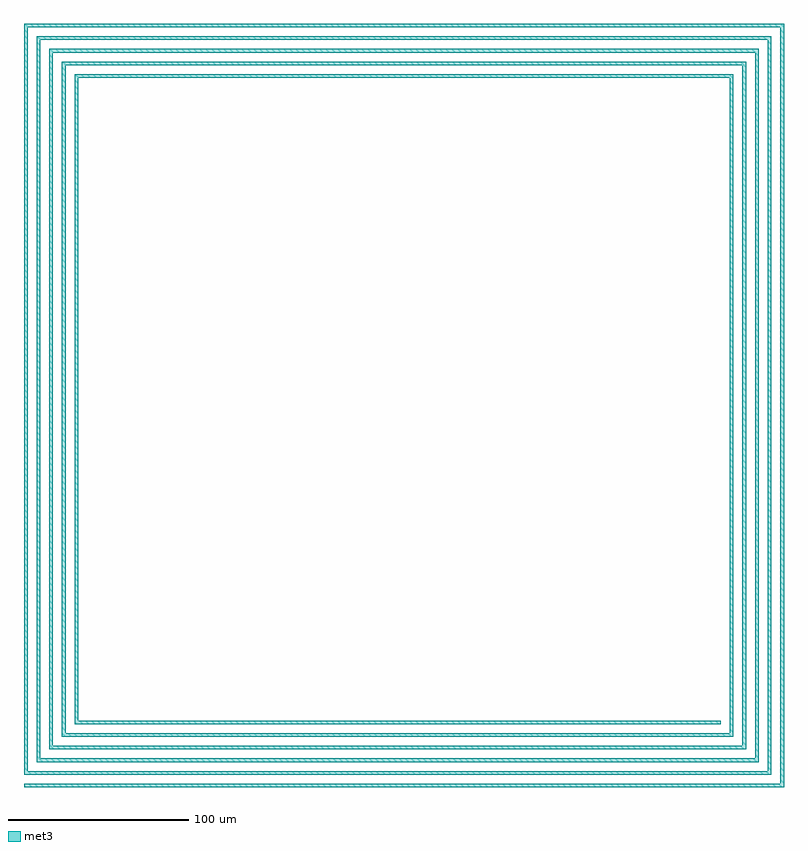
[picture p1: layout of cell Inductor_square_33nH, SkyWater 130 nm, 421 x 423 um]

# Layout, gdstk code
import gdstk
lib = gdstk.Library(unit=1e-6, precision=5e-09)
def R(c, l, rs):  # rectangles x0, y0, x1, y1
    for r in rs: c.add(gdstk.rectangle(r[:2], r[2:], *l))
met3 = (70, 20)

inductor_square_33nh = lib.new_cell('Inductor_square_33nH')
R(inductor_square_33nh, met3, [(-82,-277,276,-275), (-82,81,276,83)])
inductor_square_33nh.add(gdstk.FlexPath([(-81,81),(-81,-275)], 2, ends="flush", simple_path=True, layer=70, datatype=20))  # met3
inductor_square_33nh.add(gdstk.FlexPath([(276,82),(283,82)], 2, ends="flush", simple_path=True, layer=70, datatype=20))  # met3
inductor_square_33nh.add(gdstk.FlexPath([(282,81),(282,-277)], 2, ends="flush", simple_path=True, layer=70, datatype=20))  # met3
inductor_square_33nh.add(gdstk.FlexPath([(282,-277),(282,-282)], 2, ends="flush", simple_path=True, layer=70, datatype=20))  # met3
inductor_square_33nh.add(gdstk.FlexPath([(283,-283),(-87,-283)], 2, ends="flush", simple_path=True, layer=70, datatype=20))  # met3
inductor_square_33nh.add(gdstk.FlexPath([(-88,-284),(-88,-275)], 2, ends="flush", simple_path=True, layer=70, datatype=20))  # met3
inductor_square_33nh.add(gdstk.FlexPath([(-88,79.5),(-88,-276.5)], 2, ends="flush", simple_path=True, layer=70, datatype=20))  # met3
inductor_square_33nh.add(gdstk.FlexPath([(-88,79.5),(-88,88),(-88,88)], 2, ends="flush", simple_path=True, layer=70, datatype=20))  # met3
inductor_square_33nh.add(gdstk.FlexPath([(-89,89),(290,89)], 2, ends="flush", simple_path=True, layer=70, datatype=20))  # met3
inductor_square_33nh.add(gdstk.FlexPath([(289,88),(289,-284)], 2, ends="flush", simple_path=True, layer=70, datatype=20))  # met3
inductor_square_33nh.add(gdstk.FlexPath([(289,-284),(289,-289)], 2, ends="flush", simple_path=True, layer=70, datatype=20))  # met3
inductor_square_33nh.add(gdstk.FlexPath([(290,-290),(285.5,-290)], 2, ends="flush", simple_path=True, layer=70, datatype=20))  # met3
inductor_square_33nh.add(gdstk.FlexPath([(285.5,-290),(-91.5,-290)], 2, ends="flush", simple_path=True, layer=70, datatype=20))  # met3
inductor_square_33nh.add(gdstk.FlexPath([(-91.5,-290),(-94,-290),(-94,-290)], 2, ends="flush", simple_path=True, layer=70, datatype=20))  # met3
inductor_square_33nh.add(gdstk.FlexPath([(-95,-291),(-95,90)], 2, ends="flush", simple_path=True, layer=70, datatype=20))  # met3
inductor_square_33nh.add(gdstk.FlexPath([(-95,90),(-95,95)], 2, ends="flush", simple_path=True, layer=70, datatype=20))  # met3
inductor_square_33nh.add(gdstk.FlexPath([(-96,96),(295,96)], 2, ends="flush", simple_path=True, layer=70, datatype=20))  # met3
inductor_square_33nh.add(gdstk.FlexPath([(296,97),(296,94)], 2, ends="flush", simple_path=True, layer=70, datatype=20))  # met3
inductor_square_33nh.add(gdstk.FlexPath([(296,94),(296,-291)], 2, ends="flush", simple_path=True, layer=70, datatype=20))  # met3
inductor_square_33nh.add(gdstk.FlexPath([(296,-291),(296,-296),(296,-296)], 2, ends="flush", simple_path=True, layer=70, datatype=20))  # met3
inductor_square_33nh.add(gdstk.FlexPath([(297,-297),(-100,-297)], 2, ends="flush", simple_path=True, layer=70, datatype=20))  # met3
inductor_square_33nh.add(gdstk.FlexPath([(-100,-297),(-101,-297)], 2, ends="flush", simple_path=True, layer=70, datatype=20))  # met3
inductor_square_33nh.add(gdstk.FlexPath([(-102,-298),(-102,97)], 2, ends="flush", simple_path=True, layer=70, datatype=20))  # met3
inductor_square_33nh.add(gdstk.FlexPath([(-102,97),(-102,102)], 2, ends="flush", simple_path=True, layer=70, datatype=20))  # met3
inductor_square_33nh.add(gdstk.FlexPath([(-103,103),(300,103)], 2, ends="flush", simple_path=True, layer=70, datatype=20))  # met3
inductor_square_33nh.add(gdstk.FlexPath([(300,103),(302,103)], 2, ends="flush", simple_path=True, layer=70, datatype=20))  # met3
inductor_square_33nh.add(gdstk.FlexPath([(303,104),(303,-300)], 2, ends="flush", simple_path=True, layer=70, datatype=20))  # met3
inductor_square_33nh.add(gdstk.FlexPath([(303,-300),(303,-303)], 2, ends="flush", simple_path=True, layer=70, datatype=20))  # met3
inductor_square_33nh.add(gdstk.FlexPath([(304,-304),(-103,-304)], 2, ends="flush", simple_path=True, layer=70, datatype=20))  # met3
inductor_square_33nh.add(gdstk.FlexPath([(-103,-304),(-108,-304),(-108,-304)], 2, ends="flush", simple_path=True, layer=70, datatype=20))  # met3
inductor_square_33nh.add(gdstk.FlexPath([(-109,-305),(-109,104)], 2, ends="flush", simple_path=True, layer=70, datatype=20))  # met3
inductor_square_33nh.add(gdstk.FlexPath([(-109,104),(-109,109)], 2, ends="flush", simple_path=True, layer=70, datatype=20))  # met3
inductor_square_33nh.add(gdstk.FlexPath([(-110,110),(309.5,110)], 2, ends="flush", simple_path=True, layer=70, datatype=20))  # met3
inductor_square_33nh.add(gdstk.FlexPath([(310,111),(310,104)], 2, ends="flush", simple_path=True, layer=70, datatype=20))  # met3
inductor_square_33nh.add(gdstk.FlexPath([(310,104),(310,-305)], 2, ends="flush", simple_path=True, layer=70, datatype=20))  # met3
inductor_square_33nh.add(gdstk.FlexPath([(310,-305),(310,-310)], 2, ends="flush", simple_path=True, layer=70, datatype=20))  # met3
inductor_square_33nh.add(gdstk.FlexPath([(311,-311),(282,-311)], 2, ends="flush", simple_path=True, layer=70, datatype=20))  # met3
inductor_square_33nh.add(gdstk.FlexPath([(282,-311),(-110,-311)], 2, ends="flush", simple_path=True, layer=70, datatype=20))  # met3

lib.write_gds('Inductor_square_33nH.gds')
